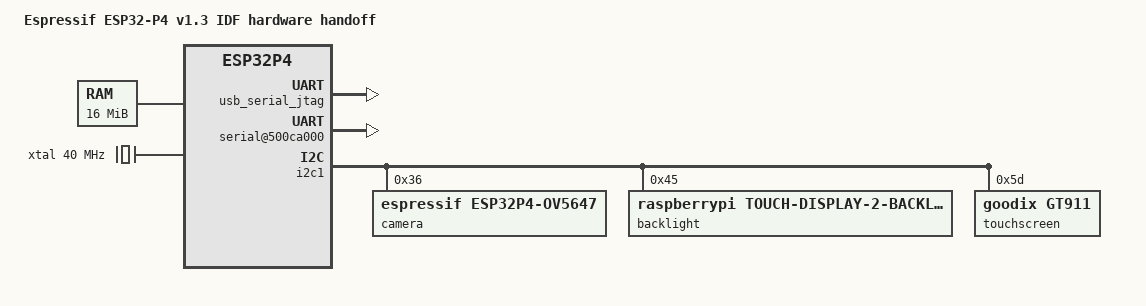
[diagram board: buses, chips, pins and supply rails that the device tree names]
/dts-v1/;

/ {
	model = "Espressif ESP32-P4 v1.3 IDF hardware handoff";
	compatible = "espressif,esp32p4-generic\0espressif,esp32p4";
	#address-cells = <0x01>;
	#size-cells = <0x01>;

	chosen {
		ranges;
		bootargs = "clk_ignore_unused";
		#size-cells = <0x01>;
		#address-cells = <0x01>;
		espressif,cache-sync-entry = <0x00>;
		espressif,camera-service-entry = <0>;
		espressif,camera-invalidate-entry = <0>;
		espressif,cpu1-boot-mailbox = <0x00 0x1c>;
		espressif,chip-revision = <0x67>;
		stdout-path = "usbserial0:115200n8";

		framebuffer@49000000 {
			interrupts = <0x18 0x04>;
			interrupt-parent = <0x01>;
			espressif,ppa-service-entry = <0x00>;
			espressif,logical-framebuffer = <0x49200000 0xe1000 640 360 1280 720>;
			espressif,rotation-controller = <0x04>;
			espressif,scanout-controller = <0x03>;
			espressif,cache-writeback-entry = <0x00>;
			espressif,dsi-lli = <0x00>;
			espressif,panel-i2c = <&i2c1>;
			espressif,panel-i2c-address = <0x45>;
			status = "okay";
			format = "r5g6b5";
			stride = <0x5a0>;
			height = <0x500>;
			width = <0x2d0>;
			reg = <0x49000000 0x1c2000>;
			compatible = "espressif,esp32p4-idf-framebuffer";
		};
	};

	aliases {
		usbserial0 = &usb_serial_jtag;
		serial0 = "/soc/serial@500ca000";
	};

	memory@48000000 {
		device_type = "memory";
		reg = <0x48000000 0x1000000>;
	};

	reserved-memory {
		#address-cells = <0x01>;
		#size-cells = <0x01>;
		ranges;

		framebuffer@49000000 {
			no-map;
			reg = <0x49000000 0x1c2000>;
		};

		landscape-framebuffer@49200000 {
			no-map;
			reg = <0x49200000 0xe1000>;
		};

		camera-buffers@49300000 {
			no-map;
			reg = <0x49300000 0x300000>;
		};

		boot-dtb@48f00000 {
			reg = <0x48f00000 0x10000>;
			no-map;
		};
	};

	cpus {
		#address-cells = <0x01>;
		#size-cells = <0x00>;
		timebase-frequency = <0x15752a00>;

		cpu@0 {
			device_type = "cpu";
			compatible = "espressif,esp32p4-cpu\0riscv";
			reg = <0x00>;
			status = "okay";
			riscv,isa = "rv32imafc_zicsr_zifencei_zicntr_zihpm_zcb_zcmp_zcmt";
			riscv,isa-base = "rv32i";
			riscv,isa-extensions = "i\0m\0a\0f\0c\0zicsr\0zifencei\0zicntr\0zihpm\0zmmul\0zaamo\0zalrsc\0zca\0zcb\0zcf\0zcmp\0zcmt";
			clock-frequency = <0x15752a00>;
		};

		cpu@1 {
			device_type = "cpu";
			compatible = "espressif,esp32p4-cpu\0riscv";
			reg = <0x01>;
			status = "okay";
			riscv,isa = "rv32imafc_zicsr_zifencei_zicntr_zihpm_zcb_zcmp_zcmt";
			riscv,isa-base = "rv32i";
			riscv,isa-extensions = "i\0m\0a\0f\0c\0zicsr\0zifencei\0zicntr\0zihpm\0zmmul\0zaamo\0zalrsc\0zca\0zcb\0zcf\0zcmp\0zcmt";
			clock-frequency = <0x15752a00>;
		};
	};

	xtal: clock-xtal {
		compatible = "fixed-clock";
		#clock-cells = <0x00>;
		clock-frequency = <0x2625a00>;
		phandle = <0x02>;
	};

	soc {
		compatible = "simple-bus";
		#address-cells = <0x01>;
		#size-cells = <0x01>;
		ranges;

		pixel-processor@50087000 {
			compatible = "espressif,esp32p4-idf-ppa";
			reg = <0x50087000 0x1000 0x50088000 0x1000>;
			interrupt-parent = <0x01>;
			interrupts = <105 4 108 4>;
			phandle = <0x04>;
		};

		display-controller@500a0000 {
			compatible = "espressif,esp32p4-idf-dsi";
			reg = <0x500a0000 0x1000 0x500e603c 0x04>;
			interrupt-parent = <0x01>;
			interrupts = <86 4>;
			phandle = <0x03>;
		};

		usb_serial_jtag: serial@500d2000 {
		compatible = "espressif,esp32p4-usb-serial-jtag";
		reg = <0x500d2000 0x1000>;
		interrupt-parent = <0x01>;
		interrupts = <22 4>;
		status = "okay";
	};

	interrupt-controller@20800000 {
			compatible = "espressif,esp32p4-interrupt-controller";
			reg = <0x20800000 0x12000 0x500d6000 0x1000 0x500e5000 0x1000>;
			interrupt-controller;
			#interrupt-cells = <0x02>;
			#address-cells = <0x00>;
			phandle = <0x01>;
		};

		timer@500e2000 {
			compatible = "espressif,esp32p4-systimer";
			reg = <0x500e2000 0x1000 0x500e6000 0x1000>;
			interrupt-parent = <0x01>;
			interrupts = <0x35 0x04 0x36 0x04>;
		};

		serial@500ca000 {
			compatible = "espressif,esp32p4-uart";
			reg = <0x500ca000 0x1000>;
			clocks = <&xtal>;
			interrupt-parent = <0x01>;
			interrupts = <0x1f 0x04>;
			status = "okay";
		};

		/* Loader-configured I2C1 on SDA GPIO7 / SCL GPIO8. The 15-pin
		 * DSI connector has no touch INT wire, so Goodix uses its input
		 * polling mode. Transfers themselves complete through I2C IRQ45.
		 */
		i2c1: i2c@500c5000 {
			compatible = "espressif,esp32p4-idf-i2c";
			reg = <0x500c5000 0x1000>;
			interrupt-parent = <0x01>;
			interrupts = <45 4>;
			#address-cells = <1>;
			#size-cells = <0>;

            camera@36 {
                compatible = "espressif,esp32p4-ov5647";
                reg = <0x36>;
                interrupt-parent = <0x01>;
                interrupts = <24 4>;
            };

			backlight@45 {
				compatible = "raspberrypi,touch-display-2-backlight";
				reg = <0x45>;
			};

			touchscreen@5d {
				compatible = "goodix,gt911";
				reg = <0x5d>;
				touchscreen-size-x = <720>;
				touchscreen-size-y = <1280>;
				touchscreen-inverted-x;
				touchscreen-swapped-x-y;
				touchscreen-x-mm = <62>;
				touchscreen-y-mm = <110>;
			};
		};
	};
};
